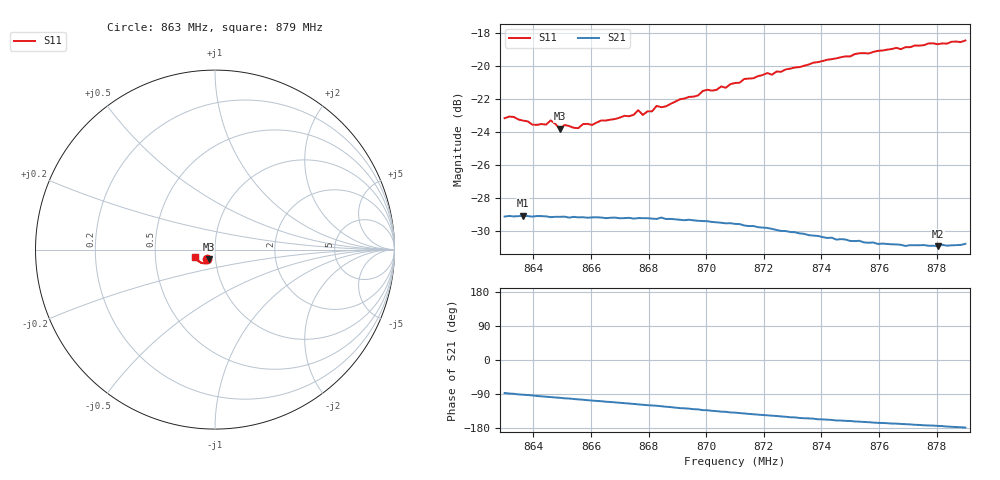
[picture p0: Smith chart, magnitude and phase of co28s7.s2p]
# HZ S RI R 50
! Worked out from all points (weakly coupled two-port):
!   101 points, 863 MHz to 879 MHz, reference 50 ohm
!   highest |S21| = -29.05 dB at 863.64 MHz (marker M1); lowest = -30.9 dB at 878.04 MHz (marker M2)
!   lowest |S11| = -23.8 dB at 864.92 MHz (marker M3), VSWR 1.14, Z = 46.3 - j4.98 ohm
!   |S11| at or under -10 dB: start of sweep to end of sweep
!   S12 and S22 are empty: the file has one direction only
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8.63e8  -0.0436 -0.0542  0.00176 -0.035  0 0  0 0
8.6332e8  -0.0438 -0.0548  0.000466 -0.0351  0 0  0 0
8.6364e8  -0.0424 -0.0536  -0.000981 -0.0353  0 0  0 0
8.6412e8  -0.039 -0.0537  -0.00304 -0.035  0 0  0 0
8.6444e8  -0.0381 -0.0545  -0.0042 -0.0348  0 0  0 0
8.646e8  -0.0405 -0.0552  -0.00475 -0.0346  0 0  0 0
8.6492e8  -0.0361 -0.0536  -0.00589 -0.0345  0 0  0 0
8.6508e8  -0.0355 -0.056  -0.00673 -0.0344  0 0  0 0
8.6556e8  -0.0349 -0.0547  -0.00839 -0.0338  0 0  0 0
8.6572e8  -0.0348 -0.057  -0.00893 -0.0337  0 0  0 0
8.6732e8  -0.034 -0.0618  -0.0146 -0.0315  0 0  0 0
8.6764e8  -0.0352 -0.0646  -0.0158 -0.0309  0 0  0 0
8.678e8  -0.0334 -0.0628  -0.0163 -0.0306  0 0  0 0
8.6828e8  -0.0348 -0.0673  -0.0176 -0.0296  0 0  0 0
8.6844e8  -0.0348 -0.0665  -0.0184 -0.0295  0 0  0 0
8.6972e8  -0.0398 -0.0711  -0.022 -0.0259  0 0  0 0
8.6988e8  -0.0426 -0.0725  -0.0228 -0.0251  0 0  0 0
8.71e8  -0.0478 -0.0749  -0.0251 -0.0219  0 0  0 0
8.7372e8  -0.0687 -0.0759  -0.0278 -0.013  0 0  0 0
8.7644e8  -0.0937 -0.0625  -0.0282 -0.00616  0 0  0 0
8.7804e8  -0.1052 -0.0499  -0.0284 -0.00302  0 0  0 0
8.79e8  -0.1131 -0.0387  -0.029 -0.000804  0 0  0 0
